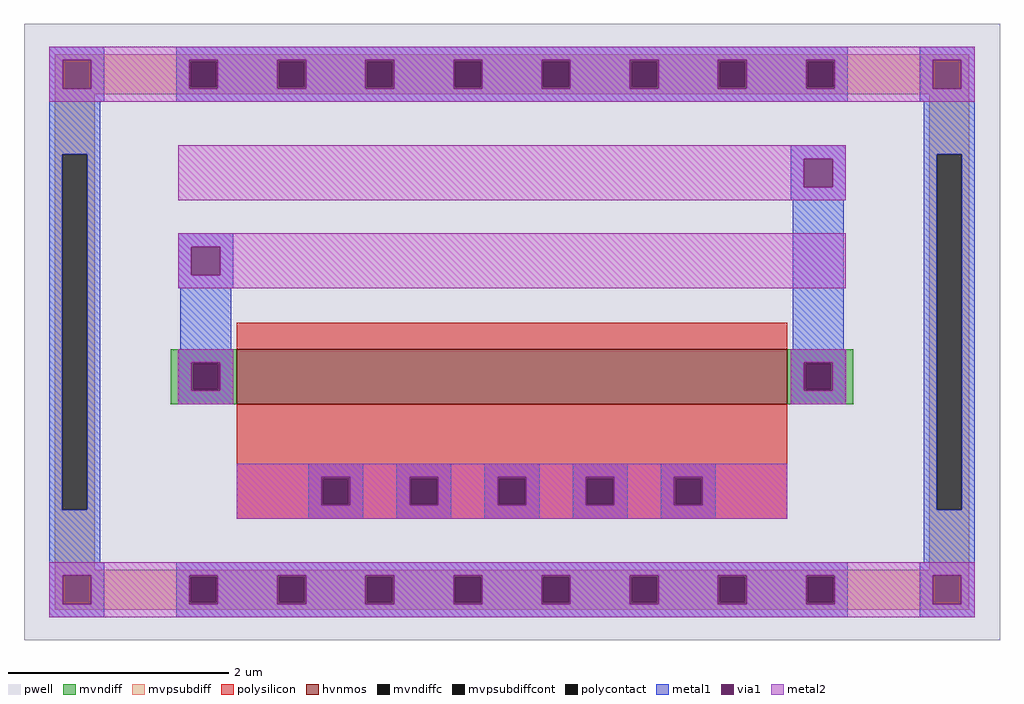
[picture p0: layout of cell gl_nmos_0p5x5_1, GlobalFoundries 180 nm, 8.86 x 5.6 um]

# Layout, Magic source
magic
tech gf180mcuD
magscale 1 10
<< pwell >>
rect -886 -560 886 560
<< hvnmos >>
rect -500 -131 500 -31
<< mvndiff >>
rect -620 -58 -500 -31
rect -620 -104 -579 -58
rect -533 -104 -500 -58
rect -620 -131 -500 -104
rect 500 -58 620 -31
rect 500 -104 533 -58
rect 579 -104 620 -58
rect 500 -131 620 -104
<< mvndiffc >>
rect -579 -104 -533 -58
rect 533 -104 579 -58
<< mvpsubdiff >>
rect -830 491 830 504
rect -830 445 -583 491
rect -537 445 -423 491
rect -377 445 -263 491
rect -217 445 -103 491
rect -57 445 57 491
rect 103 445 217 491
rect 263 445 377 491
rect 423 445 537 491
rect 583 445 830 491
rect -830 432 830 445
rect -830 323 -758 432
rect -830 -323 -817 323
rect -771 -323 -758 323
rect 758 323 830 432
rect -830 -432 -758 -323
rect 758 -323 771 323
rect 817 -323 830 323
rect 758 -432 830 -323
rect -830 -445 830 -432
rect -830 -491 -583 -445
rect -537 -491 -423 -445
rect -377 -491 -263 -445
rect -217 -491 -103 -445
rect -57 -491 57 -445
rect 103 -491 217 -445
rect 263 -491 377 -445
rect 423 -491 537 -445
rect 583 -491 830 -445
rect -830 -504 830 -491
<< mvpsubdiffcont >>
rect -583 445 -537 491
rect -423 445 -377 491
rect -263 445 -217 491
rect -103 445 -57 491
rect 57 445 103 491
rect 217 445 263 491
rect 377 445 423 491
rect 537 445 583 491
rect -817 -323 -771 323
rect 771 -323 817 323
rect -583 -491 -537 -445
rect -423 -491 -377 -445
rect -263 -491 -217 -445
rect -103 -491 -57 -445
rect 57 -491 103 -445
rect 217 -491 263 -445
rect 377 -491 423 -445
rect 537 -491 583 -445
<< polysilicon >>
rect -500 -31 500 17
rect -500 -266 500 -131
rect -500 -312 -343 -266
rect -297 -312 -183 -266
rect -137 -312 -23 -266
rect 23 -312 137 -266
rect 183 -312 297 -266
rect 343 -312 500 -266
rect -500 -339 500 -312
<< polycontact >>
rect -343 -312 -297 -266
rect -183 -312 -137 -266
rect -23 -312 23 -266
rect 137 -312 183 -266
rect 297 -312 343 -266
<< metal1 >>
rect -840 494 -740 518
rect -840 442 -816 494
rect -764 442 -740 494
rect -840 418 -740 442
rect -610 494 610 518
rect -610 442 -586 494
rect -534 442 -426 494
rect -374 442 -266 494
rect -214 442 -106 494
rect -54 442 54 494
rect 106 442 214 494
rect 266 442 374 494
rect 426 442 534 494
rect 586 442 610 494
rect -610 418 610 442
rect 740 494 840 518
rect 740 442 764 494
rect 816 442 840 494
rect 740 418 840 442
rect -840 323 -748 418
rect -840 -323 -817 323
rect -771 -323 -748 323
rect 506 315 606 339
rect 506 263 530 315
rect 582 263 606 315
rect 506 239 606 263
rect 748 323 840 418
rect -606 155 -506 179
rect -606 103 -582 155
rect -530 103 -506 155
rect -606 79 -506 103
rect -602 -31 -510 79
rect 510 -31 602 239
rect -606 -55 -506 -31
rect -606 -107 -582 -55
rect -530 -107 -506 -55
rect -606 -131 -506 -107
rect 506 -55 606 -31
rect 506 -107 530 -55
rect 582 -107 606 -55
rect 506 -131 606 -107
rect -840 -418 -748 -323
rect -370 -263 -270 -239
rect -370 -315 -346 -263
rect -294 -315 -270 -263
rect -370 -339 -270 -315
rect -210 -263 -110 -239
rect -210 -315 -186 -263
rect -134 -315 -110 -263
rect -210 -339 -110 -315
rect -50 -263 50 -239
rect -50 -315 -26 -263
rect 26 -315 50 -263
rect -50 -339 50 -315
rect 110 -263 210 -239
rect 110 -315 134 -263
rect 186 -315 210 -263
rect 110 -339 210 -315
rect 270 -263 370 -239
rect 270 -315 294 -263
rect 346 -315 370 -263
rect 270 -339 370 -315
rect 748 -323 771 323
rect 817 -323 840 323
rect 748 -418 840 -323
rect -840 -442 -740 -418
rect -840 -494 -816 -442
rect -764 -494 -740 -442
rect -840 -518 -740 -494
rect -610 -442 610 -418
rect -610 -494 -586 -442
rect -534 -494 -426 -442
rect -374 -494 -266 -442
rect -214 -494 -106 -442
rect -54 -494 54 -442
rect 106 -494 214 -442
rect 266 -494 374 -442
rect 426 -494 534 -442
rect 586 -494 610 -442
rect -610 -518 610 -494
rect 740 -442 840 -418
rect 740 -494 764 -442
rect 816 -494 840 -442
rect 740 -518 840 -494
<< via1 >>
rect -816 442 -764 494
rect -586 491 -534 494
rect -586 445 -583 491
rect -583 445 -537 491
rect -537 445 -534 491
rect -586 442 -534 445
rect -426 491 -374 494
rect -426 445 -423 491
rect -423 445 -377 491
rect -377 445 -374 491
rect -426 442 -374 445
rect -266 491 -214 494
rect -266 445 -263 491
rect -263 445 -217 491
rect -217 445 -214 491
rect -266 442 -214 445
rect -106 491 -54 494
rect -106 445 -103 491
rect -103 445 -57 491
rect -57 445 -54 491
rect -106 442 -54 445
rect 54 491 106 494
rect 54 445 57 491
rect 57 445 103 491
rect 103 445 106 491
rect 54 442 106 445
rect 214 491 266 494
rect 214 445 217 491
rect 217 445 263 491
rect 263 445 266 491
rect 214 442 266 445
rect 374 491 426 494
rect 374 445 377 491
rect 377 445 423 491
rect 423 445 426 491
rect 374 442 426 445
rect 534 491 586 494
rect 534 445 537 491
rect 537 445 583 491
rect 583 445 586 491
rect 534 442 586 445
rect 764 442 816 494
rect 530 263 582 315
rect -582 103 -530 155
rect -582 -58 -530 -55
rect -582 -104 -579 -58
rect -579 -104 -533 -58
rect -533 -104 -530 -58
rect -582 -107 -530 -104
rect 530 -58 582 -55
rect 530 -104 533 -58
rect 533 -104 579 -58
rect 579 -104 582 -58
rect 530 -107 582 -104
rect -346 -266 -294 -263
rect -346 -312 -343 -266
rect -343 -312 -297 -266
rect -297 -312 -294 -266
rect -346 -315 -294 -312
rect -186 -266 -134 -263
rect -186 -312 -183 -266
rect -183 -312 -137 -266
rect -137 -312 -134 -266
rect -186 -315 -134 -312
rect -26 -266 26 -263
rect -26 -312 -23 -266
rect -23 -312 23 -266
rect 23 -312 26 -266
rect -26 -315 26 -312
rect 134 -266 186 -263
rect 134 -312 137 -266
rect 137 -312 183 -266
rect 183 -312 186 -266
rect 134 -315 186 -312
rect 294 -266 346 -263
rect 294 -312 297 -266
rect 297 -312 343 -266
rect 343 -312 346 -266
rect 294 -315 346 -312
rect -816 -494 -764 -442
rect -586 -445 -534 -442
rect -586 -491 -583 -445
rect -583 -491 -537 -445
rect -537 -491 -534 -445
rect -586 -494 -534 -491
rect -426 -445 -374 -442
rect -426 -491 -423 -445
rect -423 -491 -377 -445
rect -377 -491 -374 -445
rect -426 -494 -374 -491
rect -266 -445 -214 -442
rect -266 -491 -263 -445
rect -263 -491 -217 -445
rect -217 -491 -214 -445
rect -266 -494 -214 -491
rect -106 -445 -54 -442
rect -106 -491 -103 -445
rect -103 -491 -57 -445
rect -57 -491 -54 -445
rect -106 -494 -54 -491
rect 54 -445 106 -442
rect 54 -491 57 -445
rect 57 -491 103 -445
rect 103 -491 106 -445
rect 54 -494 106 -491
rect 214 -445 266 -442
rect 214 -491 217 -445
rect 217 -491 263 -445
rect 263 -491 266 -445
rect 214 -494 266 -491
rect 374 -445 426 -442
rect 374 -491 377 -445
rect 377 -491 423 -445
rect 423 -491 426 -445
rect 374 -494 426 -491
rect 534 -445 586 -442
rect 534 -491 537 -445
rect 537 -491 583 -445
rect 583 -491 586 -445
rect 534 -494 586 -491
rect 764 -494 816 -442
<< metal2 >>
rect -840 494 840 518
rect -840 442 -816 494
rect -764 442 -586 494
rect -534 442 -426 494
rect -374 442 -266 494
rect -214 442 -106 494
rect -54 442 54 494
rect 106 442 214 494
rect 266 442 374 494
rect 426 442 534 494
rect 586 442 764 494
rect 816 442 840 494
rect -840 418 840 442
rect -606 315 606 339
rect -606 263 530 315
rect 582 263 606 315
rect -606 239 606 263
rect -606 155 606 179
rect -606 103 -582 155
rect -530 103 606 155
rect -606 79 606 103
rect -606 -55 -506 -31
rect -606 -107 -582 -55
rect -530 -107 -506 -55
rect -606 -131 -506 -107
rect 506 -55 606 -31
rect 506 -107 530 -55
rect 582 -107 606 -55
rect 506 -131 606 -107
rect -500 -263 500 -239
rect -500 -315 -346 -263
rect -294 -315 -186 -263
rect -134 -315 -26 -263
rect 26 -315 134 -263
rect 186 -315 294 -263
rect 346 -315 500 -263
rect -500 -339 500 -315
rect -840 -442 840 -418
rect -840 -494 -816 -442
rect -764 -494 -586 -442
rect -534 -494 -426 -442
rect -374 -494 -266 -442
rect -214 -494 -106 -442
rect -54 -494 54 -442
rect 106 -494 214 -442
rect 266 -494 374 -442
rect 426 -494 534 -442
rect 586 -494 764 -442
rect 816 -494 840 -442
rect -840 -518 840 -494
<< end >>
